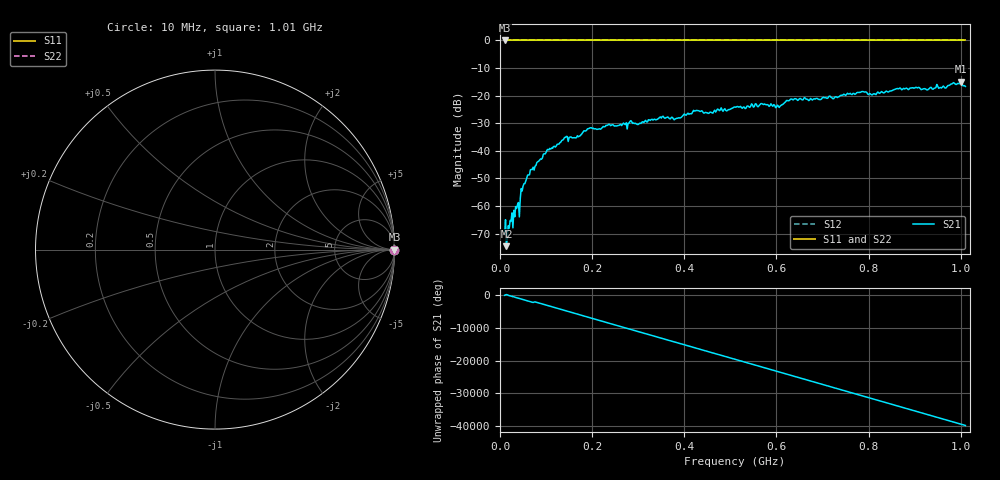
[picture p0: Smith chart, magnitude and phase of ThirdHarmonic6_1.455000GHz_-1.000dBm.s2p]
! 8/16/2025 4:53:38 PM
! C:\ANRITSUVNA\TEMP\TEMP.S2P
! CHANNEL.1
! TR.MEASUREMENT
! RAW.DATA
! RF.CORRECTION.OFF
! AVERAGING.OFF
! IF.BANDWIDTH: 5KHZ
! SWEEPTYPE:  FREQ.SWEEP(Linear)
! Reference Plane Port Info
! PORT:  PORT1  PORT2
! DISTANCE:  0  m  0  m
! TIME:  0  s  0  s
! PHASE.OFFSET:  0  deg.  0  deg.
! LOSS:  0  dB  0  dB
! REF.LOSS:  0  dB  0  dB
! REF.FREQ:  0  Hz  0  Hz
! Power Info
! POWER:  -20  dBm  -20  dBm
! EFF.POWER:  -20  dBm  -20  dBm
! SOURCE.ATTEN:  0  dB  0  dB
! TEST.ATTEN:  0  dB  0  dB
# GHZ S RI R 50.0
! FREQ.GHZ  S11RE  S11IM  S21RE  S21IM  S12RE  S12IM  S22RE  S22IM
!; PortSelection: Port_12
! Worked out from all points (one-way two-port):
!   501 points, 10 MHz to 1.01 GHz, reference 50 ohm
!   highest |S21| = -14.93 dB at 1 GHz (marker M1); lowest = -74.5 dB at 14 MHz (marker M2)
!   lowest |S11| = 0.0 dB at 10 MHz (marker M3)
!   |S11| at or under -10 dB: nowhere
!   |S22| runs from 0.0 to 0.0 dB; largest |S21 - S12| = 1.2
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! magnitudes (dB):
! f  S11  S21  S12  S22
! 10 MHz  0.0  -70.2  0.0  0.0
! 14 MHz  0.0  -74.5  0.0  0.0
! 18 MHz  0.0  -67.1  0.0  0.0
! 22 MHz  0.0  -65.2  0.0  0.0
! 40 MHz  0.0  -58.7  0.0  0.0
! 50 MHz  0.0  -52.8  0.0  0.0
! 68 MHz  0.0  -46.7  0.0  0.0
! 106 MHz  0.0  -39.6  0.0  0.0
! 142 MHz  0.0  -35.1  0.0  0.0
! 178 MHz  0.0  -33.7  0.0  0.0
! 194 MHz  0.0  -31.8  0.0  0.0
! 344 MHz  0.0  -28.3  0.0  0.0
! 382 MHz  0.0  -28.3  0.0  0.0
! 424 MHz  0.0  -25.5  0.0  0.0
! 458 MHz  0.0  -26.0  0.0  0.0
! 510 MHz  0.0  -24.1  0.0  0.0
! 602 MHz  0.0  -23.4  0.0  0.0
! 634 MHz  0.0  -21.3  0.0  0.0
! 678 MHz  0.0  -21.6  0.0  0.0
! 844 MHz  0.0  -18.6  0.0  0.0
! 1 GHz  0.0  -14.9  0.0  0.0
! 1.01 GHz  0.0  -16.6  0.0  0.0
